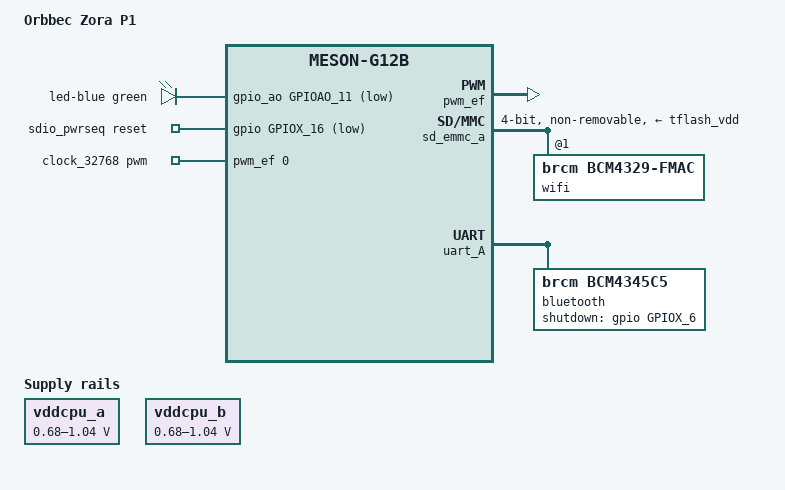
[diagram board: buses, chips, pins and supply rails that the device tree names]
// SPDX-License-Identifier: (GPL-2.0+ OR MIT)
/*
 * Copyright (c) 2026 Alberto Robazza <robazza.alberto@proton.me>
 */

/dts-v1/;

#include "meson-g12b-a311d.dtsi"
#include "meson-g12b-odroid-n2.dtsi"
#include <dt-bindings/leds/common.h>

/ {
	compatible = "orbbec,zora-p1", "amlogic,a311d", "amlogic,g12b";
	model = "Orbbec Zora P1";

	leds {
		/* Status led on Zora is actually green, same pin as N2, but reversed polarity */
		led-blue {
			function = LED_FUNCTION_STATUS;
			color = <LED_COLOR_ID_GREEN>;
			gpios = <&gpio_ao GPIOAO_11 GPIO_ACTIVE_LOW>;
		};
	};

	sdio_pwrseq: sdio-pwrseq {
		compatible = "mmc-pwrseq-simple";
		reset-gpios = <&gpio GPIOX_16 GPIO_ACTIVE_LOW>;
		clocks = <&clock_32768>;
		clock-names = "ext_clock";
	};

	clock_32768: clock-32768 {
		compatible = "pwm-clock";
		#clock-cells = <0>;
		clock-frequency = <32768>;
		pwms = <&pwm_ef 0 30518 0>;
	};

	sound {
		model = "ZORA-P1";
	};
};

&pwm_ef {
	status = "okay";
	pinctrl-0 = <&pwm_e_pins>;
	pinctrl-names = "default";
};

/* AP6256 Wi-Fi: Broadcom BCM43456 over SDIO. */
&sd_emmc_a {
	status = "okay";
	pinctrl-0 = <&sdio_pins>;
	pinctrl-1 = <&sdio_clk_gate_pins>;
	pinctrl-names = "default", "clk-gate";
	#address-cells = <1>;
	#size-cells = <0>;

	bus-width = <4>;
	cap-sd-highspeed;
	max-frequency = <100000000>;
	non-removable;
	disable-wp;
	keep-power-in-suspend;

	mmc-pwrseq = <&sdio_pwrseq>;
	vmmc-supply = <&tflash_vdd>;
	vqmmc-supply = <&vddao_1v8>;

	wifi@1 {
		compatible = "brcm,bcm4329-fmac";
		reg = <1>;
	};
};

/* AP6256 Bluetooth: Broadcom BCM4345C5 over UART_A. */
&uart_A {
	status = "okay";
	pinctrl-0 = <&uart_a_pins>, <&uart_a_cts_rts_pins>;
	pinctrl-names = "default";
	uart-has-rtscts;

	bluetooth {
		compatible = "brcm,bcm4345c5";
		shutdown-gpios = <&gpio GPIOX_6 GPIO_ACTIVE_HIGH>;
		max-speed = <2000000>;
		clocks = <&clock_32768>;
		clock-names = "lpo";
	};
};

/* vddcpu regulators same as Odroid N2+ */
&vddcpu_a {
	regulator-min-microvolt = <680000>;
	regulator-max-microvolt = <1040000>;

	pwms = <&pwm_ab 0 1500 0>;
};

&vddcpu_b {
	regulator-min-microvolt = <680000>;
	regulator-max-microvolt = <1040000>;

	pwms = <&pwm_AO_cd 1 1500 0>;
};
